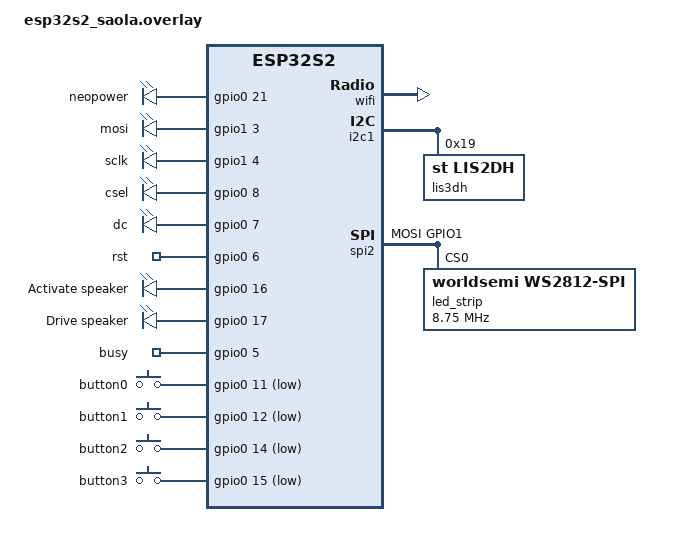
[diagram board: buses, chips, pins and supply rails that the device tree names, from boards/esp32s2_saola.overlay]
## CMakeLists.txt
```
# SPDX-License-Identifier: Apache-2.0

cmake_minimum_required(VERSION 3.20.0)

find_package(Zephyr REQUIRED HINTS $ENV{ZEPHYR_BASE})
project(lightdb)

target_sources(app PRIVATE src/main.c)
target_sources(app PRIVATE src/epaper/magtag_epaper.c)
target_sources(app PRIVATE src/epaper/magtag_epaper_hal.c)
target_sources(app PRIVATE src/ws2812/ws2812_control.c)
target_sources(app PRIVATE src/buttons/buttons.c)
target_sources(app PRIVATE src/accelerometer/accel.c)
```

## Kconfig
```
# Copyright (c) 2021 Golioth, Inc.
# SPDX-License-Identifier: Apache-2.0

mainmenu "Golioth application options"

if WIFI_ESP32

config ESP32_WIFI_SSID
	default GOLIOTH_SAMPLE_WIFI_SSID

config ESP32_WIFI_PASSWORD
	default GOLIOTH_SAMPLE_WIFI_PSK

endif # WIFI_ESP32

if DNS_RESOLVER

config DNS_SERVER_IP_ADDRESSES
	default y

config DNS_SERVER1
	default "1.1.1.1"

config MAGTAG_NAME
	string "MagTag Name"
	default "MagTag-One"
	help
		Used during automatic provisioning for workshops

endif # DNS_RESOLVER

source "Kconfig.zephyr"
```

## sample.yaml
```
sample:
  description: Use MagTag hardware to demonstrate the Golioth platform
  name: magtag-demo
common:
  harness: net
  platform_allow: >
    esp32s2_saola
  tags: golioth lightdb net socket
tests:
```

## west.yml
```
manifest:
  projects:
    - name: golioth
      path: modules/lib/golioth
      revision: 7f2f55e386c4cef588ecf8d8cf5305ffe73615e3
      url: https://github.com/golioth/golioth-zephyr-sdk
      west-commands: scripts/west-commands.yml
      import:
        file: west-zephyr.yml
        path-prefix: deps
        name-allowlist:
          - zephyr
          - cmsis
          - hal_espressif
          - mbedtls
          - mcuboot
          - net-tools
          - qcbor
          - segger
          - tinycrypt
  self:
    path: app
    west-commands: utility/west-commands/west-commands.yml
```

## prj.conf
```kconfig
CONFIG_GOLIOTH_SAMPLES_COMMON=y

# Generic networking options
CONFIG_NETWORKING=y
CONFIG_NET_IPV4=y
CONFIG_NET_IPV6=n

# Logging
CONFIG_NET_LOG=y

# Network Shell
CONFIG_NET_SHELL=n

# TLS configuration
CONFIG_MBEDTLS_ENABLE_HEAP=y
CONFIG_MBEDTLS_HEAP_SIZE=10240
CONFIG_MBEDTLS_SSL_MAX_CONTENT_LEN=2048

# Application
CONFIG_MAIN_STACK_SIZE=4096

CONFIG_GOLIOTH=y
CONFIG_GOLIOTH_SYSTEM_CLIENT=y

CONFIG_MINIMAL_LIBC_MALLOC_ARENA_SIZE=256

# JSON library
CONFIG_JSON_LIBRARY=y

# WS2812 Driver
CONFIG_LED_STRIP=y
CONFIG_LED_STRIP_LOG_LEVEL_DBG=y
CONFIG_WS2812_STRIP=y

# Accelerometer
CONFIG_GPIO=y
CONFIG_I2C=y
CONFIG_SENSOR=y
CONFIG_LIS2DH=y
CONFIG_CBPRINTF_FP_SUPPORT=y

CONFIG_LOG_BACKEND_GOLIOTH=y
CONFIG_LOG_PROCESS_THREAD_STACK_SIZE=2048

CONFIG_GOLIOTH_RPC=y
```

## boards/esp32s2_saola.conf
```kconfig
# CONFIG_WIFI=y
# CONFIG_WIFI_ESP32=y
# CONFIG_HEAP_MEM_POOL_SIZE=131072
# 
# CONFIG_NET_L2_ETHERNET=y
# 
# CONFIG_NET_DHCPV4=y
# 
# CONFIG_NET_CONFIG_LOG_LEVEL_DBG=y
# CONFIG_NET_CONFIG_SETTINGS=y
# CONFIG_NET_CONFIG_NEED_IPV4=y
# 
# CONFIG_MBEDTLS_ENTROPY_ENABLED=y
# CONFIG_MBEDTLS_KEY_EXCHANGE_ECDHE_ECDSA_ENABLED=y
# CONFIG_MBEDTLS_ECP_ALL_ENABLED=y
# 
# CONFIG_ESP32_WIFI_STA_AUTO=y
# 
# CONFIG_HEAP_MEM_POOL_SIZE=37760
# 
# when enabling NET_SHELL, the following
# helps to optimize memory footprint
# CONFIG_ESP32_WIFI_STATIC_RX_BUFFER_NUM=8
# CONFIG_ESP32_WIFI_DYNAMIC_RX_BUFFER_NUM=8
# CONFIG_ESP32_WIFI_DYNAMIC_TX_BUFFER_NUM=8
# CONFIG_ESP32_WIFI_IRAM_OPT=n
# CONFIG_ESP32_WIFI_RX_IRAM_OPT=n
# 
# WS2812
# CONFIG_WS2812_STRIP_SPI=y
CONFIG_SPI=y
```

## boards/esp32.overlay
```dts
/ {
    aliases {
        led0 = &led0;
    };
    leds {
        compatible = "gpio-leds";
        led0: led_0 {
            gpios = <&gpio0 23 GPIO_ACTIVE_HIGH>;
            label = "LED 0";
        };
    };
};
```

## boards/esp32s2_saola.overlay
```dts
&wifi {
	status = "okay";
};

&i2c1 {
	pinctrl-0 = <&i2c1_default>;
	status = "okay";

	lis3dh@19 {
			compatible = "st,lis2dh";
			reg = <0x19>;
	};
};

&spi2 {
	pinctrl-0 = <&spim2_default>;
	led_strip: ws2812@0 {
		compatible = "worldsemi,ws2812-spi";

		/* SPI */
		reg = <0>; /* ignored, but necessary for SPI bindings */
		spi-max-frequency = <8750000>;

		/* WS2812 */
		chain-length = <4>; /* arbitrary; change at will */
		spi-one-frame = <0xF8>;
		spi-zero-frame = <0xE0>;
		color-mapping = <2 1 3>;
	};
};

&pinctrl {
	i2c1_default: i2c1_default {
		group1 {
			pinmux = <I2C1_SDA_GPIO33>,
					 <I2C1_SCL_GPIO34>;
		};
	};
	spim2_default: spim2_default {
		group1 {
			pinmux = <SPIM2_MOSI_GPIO1>;
		};
		/delete-node/ group2;
	};
};

/ {
	aliases {
		led-strip = &led_strip;
		neopower = &neopower;
		mosi = &mosi;
		sclk = &sclk;
		csel = &csel;
		busy = &busy;
		dc = &dc;
		rst = &rst;
		sw0 = &button0;
        sw1 = &button1;
		sw2 = &button2;
        sw3 = &button3;
        activate = &active;
		sound = &sound;
	};

	leds {
        compatible = "gpio-leds";
        neopower: neo_power {
            gpios = <&gpio0 21 GPIO_ACTIVE_HIGH>;
		};
        mosi: mosi_p {
            gpios = <&gpio1 3 GPIO_ACTIVE_HIGH>;
        };
		sclk: sclk_p {
            gpios = <&gpio1 4 GPIO_ACTIVE_HIGH>;
        };
		csel: csel_p {
            gpios = <&gpio0 8 GPIO_ACTIVE_HIGH>;
        };
		dc: dc_pin {
            gpios = <&gpio0 7 GPIO_ACTIVE_HIGH>;
        };
		rst: reset {
            gpios = <&gpio0 6 GPIO_ACTIVE_HIGH>;
        };
        active: active_pin {
            gpios = <&gpio0 16 GPIO_ACTIVE_HIGH>;
            label = "Activate speaker";
        };
		sound: sound_pin {
            gpios = <&gpio0 17 GPIO_ACTIVE_HIGH>;
            label = "Drive speaker";
        };
    };

	gpio_keys {
        compatible = "gpio-keys";
		busy: busy_pin {
            gpios = <&gpio0 5 GPIO_ACTIVE_HIGH>;
        };
        button0: button_0 {
            gpios = <&gpio0 11 (GPIO_ACTIVE_LOW | GPIO_PULL_UP)>;
        };
        button1: button_1 {
            gpios = <&gpio0 12 (GPIO_ACTIVE_LOW | GPIO_PULL_UP)>;
        };
		button2: button_2 {
            gpios = <&gpio0 14 (GPIO_ACTIVE_LOW | GPIO_PULL_UP)>;
        };
        button3: button_3 {
            gpios = <&gpio0 15 (GPIO_ACTIVE_LOW | GPIO_PULL_UP)>;
        };
    };

};
```

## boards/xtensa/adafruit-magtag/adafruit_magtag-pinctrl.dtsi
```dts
/*
 * Copyright (c) 2023 Golioth, Inc.
 *
 * SPDX-License-Identifier: Apache-2.0
 */

#include <zephyr/dt-bindings/pinctrl/esp-pinctrl-common.h>
#include <dt-bindings/pinctrl/esp32s2-pinctrl.h>
#include <zephyr/dt-bindings/pinctrl/esp32s2-gpio-sigmap.h>

&pinctrl {

	uart0_default: uart0_default {
		group1 {
			pinmux = <UART0_TX_GPIO43>;
		};
		group2 {
			pinmux = <UART0_RX_GPIO44>;
			bias-pull-up;
		};
	};

	i2c1_default: i2c1_default {
		group1 {
			pinmux = <I2C1_SDA_GPIO33>, <I2C1_SCL_GPIO34>;
			bias-pull-up;
			drive-open-drain;
			output-high;
		};
	};

	spim2_default: spim2_default {
		group1 {
			pinmux = <SPIM2_MOSI_GPIO1>;
		};
		/delete-node/ group2;
	};

	ledc0_default: ledc0_default {
		group1 {
			pinmux = <LEDC_CH0_GPIO13>;
			output-enable;
		};
	};

};
```

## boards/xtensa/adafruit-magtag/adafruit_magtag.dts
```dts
/*
 * Copyright (c) 2023 Golioth, Inc.
 *
 * SPDX-License-Identifier: Apache-2.0
 */

/dts-v1/;

#include <espressif/esp32s2.dtsi>
#include <zephyr/dt-bindings/pwm/pwm.h>
#include "adafruit_magtag-pinctrl.dtsi"

/ {
	model = "adafruit_magtag";
	compatible = "adafruit,magtag";

	chosen {
		zephyr,sram = &sram0;
		zephyr,console = &uart0;
		zephyr,shell-uart = &uart0;
		zephyr,flash = &flash0;
	};

	aliases {
		watchdog0 = &wdt0;
		led0 = &red_led;
		pwm-led0 = &red_pwm_led;
		led-strip = &led_strip;
		sw0 = &button0;
		sw1 = &button1;
		sw2 = &button2;
		sw3 = &button3;
		neopower = &neopower;
		mosi = &mosi;
		sclk = &sclk;
		csel = &csel;
		busy = &busy;
		dc = &dc;
		rst = &rst;
		activate = &active;
		sound = &sound;
	};

	leds {
		compatible = "gpio-leds";
		red_led: led_0 {
			gpios =  <&gpio0 13 GPIO_ACTIVE_HIGH>;
		};
	};

	pwmleds {
		compatible = "pwm-leds";
		red_pwm_led: pwm_led_0 {
			pwms = <&ledc0 0 PWM_HZ(100) PWM_POLARITY_NORMAL>;
		};
	};

	gpio_keys {
		compatible = "gpio-keys";
		button0: button_0 {
			gpios = <&gpio0 11 (GPIO_ACTIVE_LOW | GPIO_PULL_UP)>;
		};
		button1: button_1 {
			gpios = <&gpio0 12 (GPIO_ACTIVE_LOW | GPIO_PULL_UP)>;
		};
		button2: button_2 {
			gpios = <&gpio0 14 (GPIO_ACTIVE_LOW | GPIO_PULL_UP)>;
		};
		button3: button_3 {
			gpios = <&gpio0 15 (GPIO_ACTIVE_LOW | GPIO_PULL_UP)>;
		};
	};

	neopixel {
		compatible = "gpios";
		neopower: neo_power {
			gpios = <&gpio0 21 GPIO_ACTIVE_HIGH>;
		};
	};  

	epaper {
		compatible = "gpios";
		busy: busy_pin {
			gpios = <&gpio0 5 GPIO_ACTIVE_HIGH>;
		};
		mosi: mosi_p {
			gpios = <&gpio1 3 GPIO_ACTIVE_HIGH>;
		};
		sclk: sclk_p {
			gpios = <&gpio1 4 GPIO_ACTIVE_HIGH>;
		};
		csel: csel_p {
			gpios = <&gpio0 8 GPIO_ACTIVE_HIGH>;
		};
		dc: dc_pin {
			gpios = <&gpio0 7 GPIO_ACTIVE_HIGH>;
		};
		rst: reset {
			gpios = <&gpio0 6 GPIO_ACTIVE_HIGH>;
		};
	};

	speaker {
		compatible = "gpios";
		active: active_pin {
			gpios = <&gpio0 16 GPIO_ACTIVE_HIGH>;
		};
		sound: sound_pin {
			gpios = <&gpio0 17 GPIO_ACTIVE_HIGH>;
		};
	};
};

&cpu0 {
	clock-frequency = <ESP32_CLK_CPU_240M>;
};

&uart0 {
	pinctrl-0 = <&uart0_default>;
	pinctrl-names = "default";
	status = "okay";
	current-speed = <115200>;
};

&i2c1 {
	pinctrl-0 = <&i2c1_default>;
	pinctrl-names = "default";
	status = "okay";
	clock-frequency = <I2C_BITRATE_STANDARD>;

	lis3dh@19 {
			compatible = "st,lis2dh";
			reg = <0x19>;
	};
};

&spi2 {
	pinctrl-0 = <&spim2_default>;
	pinctrl-names = "default";
	status = "okay";
	#address-cells = <1>;
	#size-cells = <0>;

	led_strip: ws2812@0 {
		compatible = "worldsemi,ws2812-spi";

		/* SPI */
		reg = <0>; /* ignored, but necessary for SPI bindings */
		spi-max-frequency = <8750000>;

		/* WS2812 */
		chain-length = <4>; /* arbitrary; change at will */
		spi-one-frame = <0xF8>;
		spi-zero-frame = <0xE0>;
		color-mapping = <2 1 3>;
	};
};

&ledc0 {
	pinctrl-0 = <&ledc0_default>;
	pinctrl-names = "default";
	status = "okay";
	#address-cells = <1>;
	#size-cells = <0>;

	channel0@0 {
		reg = <0x0>;
		timer = <0>;
	};
};

&gpio0 {
	status = "okay";
};

&gpio1 {
	status = "okay";
};

&trng0 {
	status = "okay";
};

&wdt0 {
	status = "okay";
};

&flash0 {
	status = "okay";
	partitions {
		compatible = "fixed-partitions";
		#address-cells = <1>;
		#size-cells = <1>;

		/* Reserve 60kB for the bootloader */
		boot_partition: partition@1000 {
			reg = <0x00001000 0x0000F000>;
			read-only;
		};

		/* Reserve 1024kB for the application in slot 0 */
		slot0_partition: partition@10000 {
			reg = <0x00010000 0x00100000>;
		};

		/* Reserve 1024kB for the application in slot 1 */
		slot1_partition: partition@110000 {
			reg = <0x00110000 0x00100000>;
		};

		/* Reserve 256kB for the scratch partition */
		scratch_partition: partition@210000 {
			reg = <0x00210000 0x00040000>;
		};

		storage_partition: partition@250000 {
			reg = <0x00250000 0x00006000>;
		};
	};
};
```

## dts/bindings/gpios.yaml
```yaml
# Copyright (c) 2023 Golioth, Inc. 
# SPDX-License-Identifier: Apache-2.0

description: |
    This allows you to define a group of GPIOs.
    
    Each GPIO is defined in a child node of the gpios node.

    Here is an example which defines three GPIOs in the node /brd-ctrl:

    / {
        brd-ctrl {
            compatible = "gpios";
            ctrl_0 {
                gpios = <&gpio0 1 GPIO_ACTIVE_LOW>;
            };
            ctrl_1 {
                gpios = <&gpio0 2 GPIO_ACTIVE_HIGH>;
            };
            ctrl_2 {
                gpios = <&gpio1 15 (GPIO_PULL_UP | GPIO_ACTIVE_LOW)>;
            };
        };
    };

compatible: "gpios"

child-binding:
    description: GPIO child node
    properties:
        gpios:
            type: phandle-array
            required: true
```

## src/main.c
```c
/*
 * Copyright (c) 2022 Golioth, Inc.
 *
 * SPDX-License-Identifier: Apache-2.0
 */

/* Logging */
#include <stdlib.h>
#include <zephyr/logging/log.h>
LOG_MODULE_REGISTER(golioth_magtag, LOG_LEVEL_DBG);

/* MagTag specific hardware includes */
#include "epaper/magtag_epaper.h"
#include "ws2812/ws2812_control.h"

/* Golioth platform includes */
#include <net/golioth/system_client.h>
#include <net/golioth/rpc.h>
#include <samples/common/net_connect.h>
#include <qcbor/qcbor.h>
#include <qcbor/qcbor_spiffy_decode.h>
#include <zephyr/net/coap.h>

static struct golioth_client *client = GOLIOTH_SYSTEM_CLIENT_GET();
static K_SEM_DEFINE(connected, 0, 1);
static struct coap_reply coap_replies[1];
#define LEDS_ENDPOINT		"leds"
#define LEDS_DEFAULT_MASK	15
uint8_t led_bitmask;
uint8_t update_leds_flag;

#define LINE_ARRAY_SIZE		16
#define LINE_STRING_LEN		28	/* must be a multiple of 4!! */
K_MSGQ_DEFINE(line_msgq, LINE_STRING_LEN, LINE_ARRAY_SIZE, 4);

void write_screen_from_buffer_work_handler(struct k_work *work) {
	char str[LINE_STRING_LEN];
	while(k_msgq_num_used_get(&line_msgq)) {
		int err = k_msgq_get(&line_msgq, &str, K_NO_WAIT);
		if (err) {
			LOG_ERR("Error reading from message queue: %d", err);
		}
		else {
			epaper_autowrite(str, strlen(str));
		}
	}
}
K_WORK_DEFINE(write_screen_from_buffer_work, write_screen_from_buffer_work_handler);

/*
 * This function is registed to be called when the data
 * stored at `/leds` changes.
 */
static int on_update(const struct coap_packet *response,
		     struct coap_reply *reply,
		     const struct sockaddr *from)
{
	int err;
	char str[64];
	uint16_t payload_len;
	const uint8_t *payload;

	payload = coap_packet_get_payload(response, &payload_len);
	if (!payload) {
		LOG_WRN("packet did not contain data");
		return -ENOMSG;
	}

	if (payload_len + 1 > ARRAY_SIZE(str)) {
		payload_len = ARRAY_SIZE(str) - 1;
	}

	memcpy(str, payload, payload_len);
	str[payload_len] = '\0';

	LOG_DBG("payload: %s", str);

	if (strcmp(str,"null") == 0) {
		LOG_INF("Payload is null; initializing cloud endpoint: %s = %d",
				LEDS_ENDPOINT,
				LEDS_DEFAULT_MASK);
		snprintk(str, 6, "%d", LEDS_DEFAULT_MASK);

		err = golioth_lightdb_set(client,
				GOLIOTH_LIGHTDB_PATH(LEDS_ENDPOINT),
				GOLIOTH_CONTENT_FORMAT_APP_JSON,
				str,
				strlen(str));
		if (err) {
			LOG_WRN("Failed to create %s endpoint: %d",
					LEDS_ENDPOINT,
					err);
		}
		return 0;
	}

	/* Process the received payload */
	char *ptr;
	long ret;
	/* Convert string to a number */
	ret = strtol(str, &ptr, 10);
	if (ret < 0 || ret > 15) {
		/* Test for bounded value */
		LOG_DBG("Payload was not a number in range [0..15]");
	}
	else
	{
		/* Value is valid, save it and flag for an LED update */
		led_bitmask = (uint8_t)ret;
		++update_leds_flag;
	}

	return 0;
}

/*
 * In the `main` function, this function is registed to be
 * called when the device connects to the Golioth server.
 */
static enum golioth_rpc_status on_epaper(QCBORDecodeContext *request_params_array,
					   QCBOREncodeContext *response_detail_map,
					   void *callback_arg)
{
	UsefulBufC rpc_string;
	double value;
	QCBORError qerr;

	QCBORDecode_GetTextString(request_params_array, &rpc_string);
	qerr = QCBORDecode_GetError(request_params_array);
	if (qerr != QCBOR_SUCCESS) {
		LOG_ERR("Failed to decode array items: %d (%s)", qerr, qcbor_err_to_str(qerr));
		return GOLIOTH_RPC_INVALID_ARGUMENT;
	}

	/* Write message to ePaper display about new led_bitmask */
	uint8_t sbuf[LINE_STRING_LEN];
	uint8_t cbor_len = (uint8_t)rpc_string.len+1;	/* Add room for a null terminator */
	uint8_t len = LINE_STRING_LEN >= cbor_len ? cbor_len : LINE_STRING_LEN;
	snprintk(sbuf, len, "%s", (char *)rpc_string.ptr);
	if (k_msgq_put(&line_msgq, sbuf, K_NO_WAIT) != 0) {
		LOG_ERR("Message buffer is full, skipping epaper write");
	}
	else {
		k_work_submit(&write_screen_from_buffer_work);
	}
	return GOLIOTH_RPC_OK;
}

static void golioth_on_connect(struct golioth_client *client)
{
	struct coap_reply *observe_reply;
	int err;
	update_leds_flag = 0;

	k_sem_give(&connected);

	err = golioth_rpc_register(client, "epaper", on_epaper, NULL);
	if (err) {
		LOG_ERR("Failed to register RPC: %d", err);
	}

	coap_replies_clear(coap_replies, ARRAY_SIZE(coap_replies));

	observe_reply = coap_reply_next_unused(coap_replies,
					       ARRAY_SIZE(coap_replies));

	/*
	 * Observe the data stored at `/leds` in LightDB.
	 * When that data is updated, the `on_update` callback
	 * will be called.
	 * This will get the value when first called, even if
	 * the value doesn't change.
	 */
	err = golioth_lightdb_observe(client,
				      GOLIOTH_LIGHTDB_PATH(LEDS_ENDPOINT),
				      COAP_CONTENT_FORMAT_TEXT_PLAIN,
				      observe_reply, on_update);

	if (err) {
		LOG_WRN("failed to observe lightdb path: %d", err);
	}
}

/*
 * In the `main` function, this function is registed to be
 * called when the device receives a packet from the Golioth server.
 */
static void golioth_on_message(struct golioth_client *client,
			       struct coap_packet *rx)
{
	/*
	 * In order for the observe callback to be called,
	 * we need to call this function.
	 */
	coap_response_received(rx, NULL, coap_replies,
			       ARRAY_SIZE(coap_replies));
}

void main(void)
{
	LOG_DBG("Start MagTag Hello demo");

	/* Initialize MagTag hardware */
	ws2812_init();
	/* show two blue pixels to show until we connect to Golioth */
	leds_immediate(BLACK, BLUE, BLUE, BLACK);
	epaper_init();
	if (IS_ENABLED(CONFIG_GOLIOTH_SAMPLES_COMMON)) {
		net_connect();
	}

	client->on_connect = golioth_on_connect;
	client->on_message = golioth_on_message;
	golioth_system_client_start();

	/* wait until we've connected to golioth */
	k_sem_take(&connected, K_FOREVER);

	/* turn LEDs green to indicate connection */
	leds_immediate(GREEN, GREEN, GREEN, GREEN);
	epaper_autowrite("Connected to Golioth!", 21);


	int counter = 0;
	int err;
	while (true) {
		if (update_leds_flag)
		{
			/* Set new LED on/off values based on led_bitmask */
			leds_immediate(
				(led_bitmask&8)?RED:BLACK,
				(led_bitmask&4)?GREEN:BLACK,
				(led_bitmask&2)?BLUE:BLACK,
				(led_bitmask&1)?RED:BLACK
			);
			update_leds_flag = 0;

			/* Write message to ePaper display about new led_bitmask */
			uint8_t sbuf[LINE_STRING_LEN];
			snprintk(sbuf, LINE_STRING_LEN, "new led_bitmask: %d", led_bitmask);
			if (k_msgq_put(&line_msgq, sbuf, K_NO_WAIT) != 0) {
				LOG_ERR("Message buffer is full, skipping epaper write");
			}
			else {
				k_work_submit(&write_screen_from_buffer_work);
			}
		}
		k_sleep(K_MSEC(200));
	}
}
```
